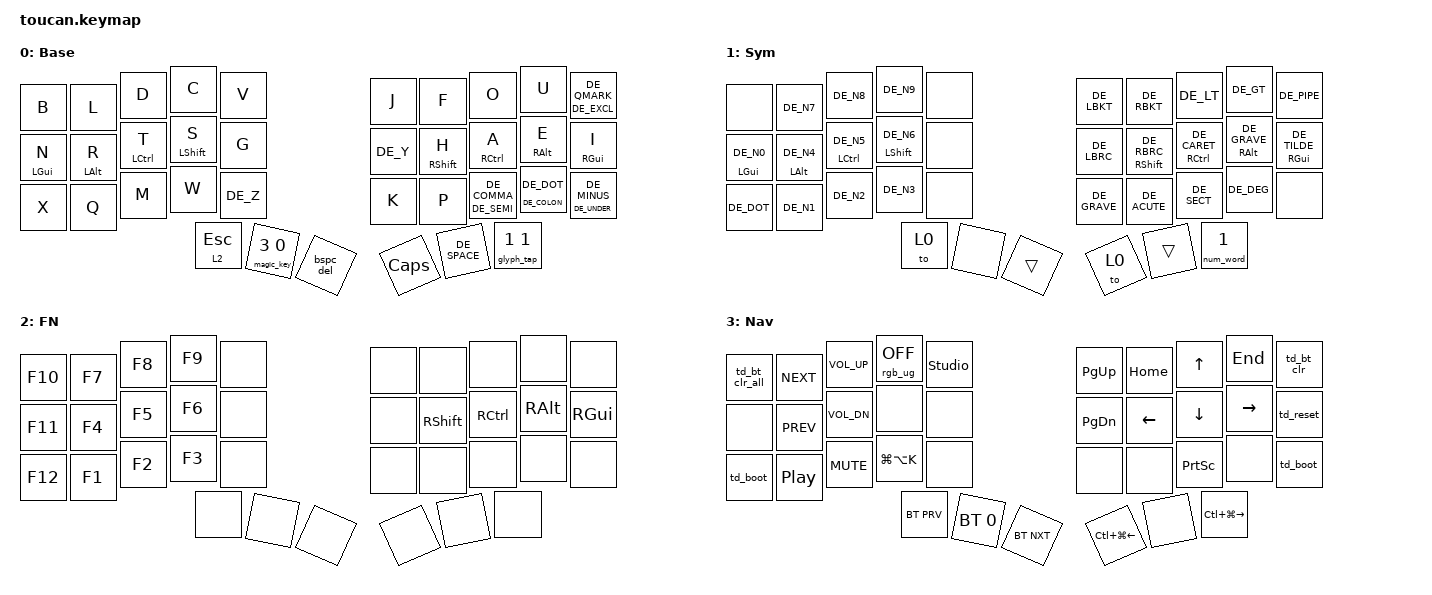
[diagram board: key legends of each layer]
/*
 * Copyright (c) 2020 The ZMK Contributors
 *
 * SPDX-License-Identifier: MIT
 *
 * Gallium v2 layout (customized) with home row mods
 * Swiss German (DE-CH) keyboard layout
 * Toucan Keyboard — 5-col layout (identical key positions to Piantor Pro BT)
 *
 * Layer order:
 *   0 = Base (default)
 *   1 = Sym
 *   2 = FN
 *   3 = Nav    ← trackpad acts as scroll wheel on this layer
 *
 * ============================================================
 * Base (Layer 0): Default layer
 * ============================================================
 * Layout: Gallium v1, Columnar Staggered Version
 *
 * Top row: B L D C V | J F O U ?/!
 * Home row: N R T S G | Y H A E I
 * Bot row: X Q M W Z | K P ,/; ./: -/_
 *
 * Top row hold-taps (mt):
 * ?=!
 *
 * Bot row hold-taps (mt):
 * ,=; .=: -=_
 *
 * Home row mods (cross-hand activation only):
 * Left: N=Super(slow)  R=Alt(slow)  T=Ctrl(slow)  S=Shift(fast)
 * Right: H=Shift(fast)  A=Ctrl(slow)  E=Alt(slow)  I=Super(slow)
 *
 * Thumbs:
 * ESC(hold=FN) | MagicKey(hold=Nav) | Backspace/Del | CapsLock | Space | Sym(tap=num_word,hold=layer)
 *
 * ============================================================
 * Sym (Layer 1): Numbers and symbols
 * ============================================================
 * Activated by: tap Sym thumb (num_word), hold Sym thumb (momentary)
 * num_word auto-exits on non-number/symbol keys
 *
 * Top row: — 7 8 9 — | [ ] < > |
 * Home row: 0 4 5 6 — | { } ^ ` ~
 * Bot row: . 1 2 3 — | ` ´ § ° —
 *
 * Thumbs: to(0) | — | BSPC/DEL (trans) | to(0) | SPACE (trans) | num_word
 *
 * ============================================================
 * FN (Layer 2): Function keys and mouse
 * ============================================================
 * Activated by: hold MagicKey thumb OR trackpad touch on layer 0
 *
 * Top row: F10 F7 F8 F9 — | — — — — —
 * Home row: F11 F4 F5 F6 — | — RSft RCtl RAlt RGui
 * Bot row: F12 F1 F2 F3 — | — — — — —
 *
 * Thumbs: — | — | — | LClick | RClick | MClick
 *
 * ============================================================
 * Nav (Layer 3): Navigation and system controls
 * ============================================================
 * Activated by: hold Space thumb
 * Trackpad acts as scroll wheel on this layer.
 *
 * Top row: BtClrAll** Next VolUp RGB_OFF StudioUnlk | PgUp Home Up End BtClr**
 * Home row: — Prev VolDn — — | PgDn Left Down Right Reset**
 * Bot row: Boot** Play Mute MicMute — | CapsL — PrtSc — Boot**
 *
 * MicMute = LGui+RAlt+K shortcut
 * CapsL = Caps Lock (manual toggle)
 * ** = tap-dance safety: single tap = nothing, double-tap = action
 *
 * Thumbs: BT_PRV | BT(0) | BT_NXT | DesktopL | — | DesktopR
 */

#include <behaviors.dtsi>
#include <dt-bindings/zmk/keys.h>
#include <dt-bindings/zmk/bt.h>
#include <dt-bindings/zmk/rgb.h>
#include <dt-bindings/zmk/outputs.h>
#define ZMK_POINTING_DEFAULT_SCRL_VAL 20
#include <dt-bindings/zmk/pointing.h>
#include <behaviors/num_word.dtsi>
#include "keys_de_swiss.h"

// urob's helper macros for ZMK behaviors
#include "zmk-helpers/helper.h"

&num_word {
    continue-list = <BSPC DEL DOT PLUS MINUS ASTRK FSLH EQUAL SPACE>;
};

&sk {
    release-after-ms = <5000>;
    quick-release;
};

&mt {
    tapping-term-ms = <300>;
    quick-tap-ms = <0>;
    require-prior-idle-ms = <175>;
    flavor = "tap-preferred";
    hold-trigger-on-release;
};

/ {
    chosen {
        zmk,physical-layout = &five_col_layout;
    };
};

/ {
    behaviors {
        #include "toucan_behaviors.dtsi"
    };

    #include "toucan_combos.dtsi"

    keymap {
        compatible = "zmk,keymap";

        default_layer {
            display-name = "Base";
            // Gallium (customized: X↔Q) with home row mods
            // Top row hold-taps: ?=!
            // Bot row hold-taps: ,=; .=: -=_
            // Home row mods — Left: N=Super(slow) R=Alt(slow) T=Ctrl(slow) S=Shift(fast)
            //               — Right: H=Shift(fast) A=Ctrl(slow) E=Alt(slow) I=Super(slow)
            // -----------------------------------------------------------------------
            // |  B  |  L  |  D  |  C  |  V  |   |  J  |  F  |  O  |  U  | ?/! |
            // |N/Gu↓|R/Al↓|T/Ct↓|S/Sf↑|  G  |   |  Y  |H/Sf↑|A/Ct↓|E/Al↓|I/Gu↓|
            // |  X  |  Q  |  M  |  W  |  Z  |   |  K  |  P  | ,/; | ./: | -/_ |
            //       | ESC(FN) | MagicKey(Nav) | BSPC | CapsLock | Space | Sym |
            // ↑ = fast (hml_shift / hmr_shift)
            // ↓ = slow (hml_slow  / hmr_slow)

            bindings = <
                &kp B                    &kp L                &kp D                     &kp C                    &kp V      &kp J      &kp F                    &kp O                     &kp U                &mt DE_EXCL DE_QMARK
                &hml_slow LEFT_GUI N     &hml_slow LEFT_ALT R &hml_slow LEFT_CONTROL T  &hml_shift LEFT_SHIFT S  &kp G      &kp DE_Y   &hmr_shift RIGHT_SHIFT H &hmr_slow RIGHT_CONTROL A &hmr_slow RIGHT_ALT E &hmr_slow RIGHT_GUI I
                &kp X                    &kp Q                &kp M                     &kp W                    &kp DE_Z   &kp K      &kp P                    &mt DE_SEMI DE_COMMA      &mt DE_COLON DE_DOT  &mt DE_UNDER DE_MINUS
                                         &lt 2 ESCAPE          &magic_key 3 0           &bspc_del                &kp CAPSLOCK  &kp DE_SPACE           &glyph_tap 1 1
            >;
        };

        num_sym_layer {
            display-name = "Sym";
            // Numbers and symbols. Activated via Glyph thumb (num_word tap or momentary hold).
            // num_word auto-exits on non-number/symbol keys.
            // Home row mods — Left: 0=Super(slow) 4=Alt(slow) 5=Ctrl(slow) 6=Shift(fast)
            //               — Right: }=Shift(fast) ^=Ctrl(slow) `=Alt(slow) ~=Super(slow)
            // -----------------------------------------------------------------------
            // |  —  |  7  |  8  |  9  |  —  |   |  [  |  ]  |  <  |  >  |  |  |
            // |0/Gu↓|4/Al↓|5/Ct↓|6/Sf↑|  —  |   |  {  |}/ ↑ |^/Ct↓|`/Al↓|~/Gu↓|
            // |  .  |  1  |  2  |  3  |  —  |   |  `  |  ´  |  §  |  °  |  —  |
            //       | to(0) |  —  | BSPC/DEL (trans) | to(0) | Space (trans) | num_word |

            bindings = <
                &none                        &kp DE_N7                &kp DE_N8                    &kp DE_N9                    &none      &kp DE_LBKT   &kp DE_RBKT                      &kp DE_LT                         &kp DE_GT                    &kp DE_PIPE
                &hml_slow LEFT_GUI DE_N0     &hml_slow LEFT_ALT DE_N4 &hml_slow LEFT_CONTROL DE_N5 &hml_shift LEFT_SHIFT DE_N6  &none      &kp DE_LBRC   &hmr_shift RIGHT_SHIFT DE_RBRC   &hmr_slow RIGHT_CONTROL DE_CARET  &hmr_slow RIGHT_ALT DE_GRAVE &hmr_slow RIGHT_GUI DE_TILDE
                &kp DE_DOT                   &kp DE_N1                &kp DE_N2                    &kp DE_N3                    &none      &kp DE_GRAVE  &kp DE_ACUTE                     &kp DE_SECT                       &kp DE_DEG                   &none
                                             &to 0                    &none                        &trans                       &to 0      &trans        &num_word 1
            >;
        };

        fn_layer {
            display-name = "FN";
            // Function keys. Activated by holding ESC thumb (lt 2).
            // Right side: raw modifiers on home row.
            // -----------------------------------------------------------------------
            // | F10 | F7  | F8  | F9  |  —  |   |  —  |  —  |  —  |  —  |  —  |
            // | F11 | F4  | F5  | F6  |  —  |   |  —  |RSft |RCtl |RAlt |RGui |
            // | F12 | F1  | F2  | F3  |  —  |   |  —  |  —  |  —  |  —  |  —  |
            //       |  —  |  —  |  —  |  —  |  —  |  —  |

            bindings = <
                &kp F10  &kp F7  &kp F8  &kp F9  &none   &none  &none              &none                 &none          &none
                &kp F11  &kp F4  &kp F5  &kp F6  &none   &none  &kp RIGHT_SHIFT    &kp RIGHT_CONTROL     &kp RIGHT_ALT  &kp RIGHT_GUI
                &kp F12  &kp F1  &kp F2  &kp F3  &none   &none  &none              &none                 &none          &none
                         &none   &none   &none   &none  &none  &none
            >;
        };

        nav_sys_layer {
            display-name = "Nav";
            // Navigation and system controls. Activated by holding MagicKey thumb (mo 3).
            // Left: media, BT, RGB controls. Right: navigation keys.
            // Trackpad acts as scroll wheel on this layer (toucan.dtsi scroller → layers = <3>).
            // MicMute = LGui+RAlt+K shortcut
            // CapsL = Caps Lock
            // ** = tap-dance safety: single tap = nothing, double-tap = action
            // -----------------------------------------------------------------------
            // |BtClrAll**| Next | VolUp |RGB_OFF|StudioUnlk|  |PgUp | Home | Up   | End  |BtClr** |
            // |    —     | Prev | VolDn |   —   |    —     |  |PgDn | Left | Down | Rght |Reset** |
            // |  Boot**  | Play | Mute  |MicMute|    —     |  |CapsL|  —   |PrtSc |  —   |Boot**  |
            //            | BT_PRV | BT(0) | BT_NXT | DesktopL |  —  | DesktopR |

            bindings = <
                &td_bt_clr_all  &kp C_NEXT  &kp C_VOL_UP  &rgb_ug RGB_OFF  &studio_unlock   &kp PG_UP     &kp HOME  &kp UP    &kp END    &td_bt_clr
                &none           &kp C_PREV  &kp C_VOL_DN  &none            &none            &kp PG_DN     &kp LEFT  &kp DOWN  &kp RIGHT  &td_reset
                &td_boot        &kp C_PP    &kp C_MUTE    &kp LG(LA(K))   &none            &none  &none     &kp PSCRN &none      &td_boot
                                &bt BT_PRV  &bt BT_SEL 0  &bt BT_NXT      &kp LC(LG(LEFT))    &none   &kp LC(LG(RIGHT))
            >;
        };

    };
};
